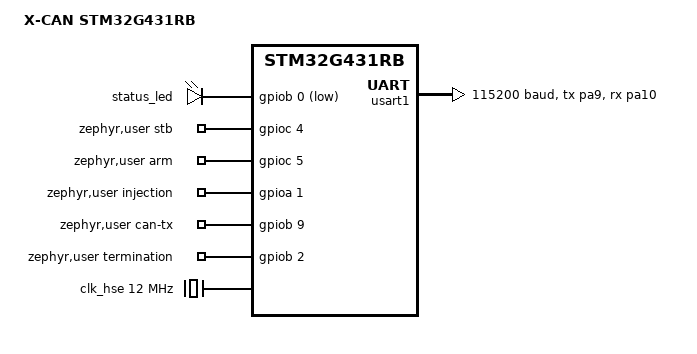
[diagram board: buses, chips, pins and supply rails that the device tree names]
/dts-v1/;
#include <st/g4/stm32g431Xb.dtsi>
#include <st/g4/stm32g431r(6-8-b)tx-pinctrl.dtsi>

/ {
    model = "X-CAN STM32G431RB";
    compatible = "xcan,stm32g431rb";
    chosen {
        zephyr,console = &usart1;
        zephyr,sram = &sram0;
        zephyr,flash = &flash0;
    };
    leds {
        compatible = "gpio-leds";
        status_led: status { gpios = <&gpiob 0 GPIO_ACTIVE_LOW>; };
    };
    zephyr,user {
        stb-gpios = <&gpioc 4 GPIO_ACTIVE_HIGH>;
        arm-gpios = <&gpioc 5 GPIO_ACTIVE_HIGH>;
        injection-gpios = <&gpioa 1 GPIO_ACTIVE_HIGH>;
        can-tx-gpios = <&gpiob 9 GPIO_ACTIVE_HIGH>;
        termination-gpios = <&gpiob 2 GPIO_ACTIVE_HIGH>;
    };
    aliases { led0 = &status_led; };
};

/* Real board: 12 MHz; schematic PDF still says 8 MHz. */
&clk_hse { clock-frequency = <DT_FREQ_M(12)>; status = "okay"; };
&pll {
    div-m = <3>;
    mul-n = <72>;
    div-p = <2>;
    div-q = <6>;
    div-r = <2>;
    clocks = <&clk_hse>;
    status = "okay";
};
&rcc {
    clocks = <&pll>;
    clock-frequency = <DT_FREQ_M(144)>;
    ahb-prescaler = <1>;
    apb1-prescaler = <1>;
    apb2-prescaler = <1>;
};
&usart1 {
    pinctrl-0 = <&usart1_tx_pa9 &usart1_rx_pa10>;
    pinctrl-names = "default";
    current-speed = <115200>;
    status = "okay";
};
/* No CAN controller or injection timer is enabled during bring-up. */
